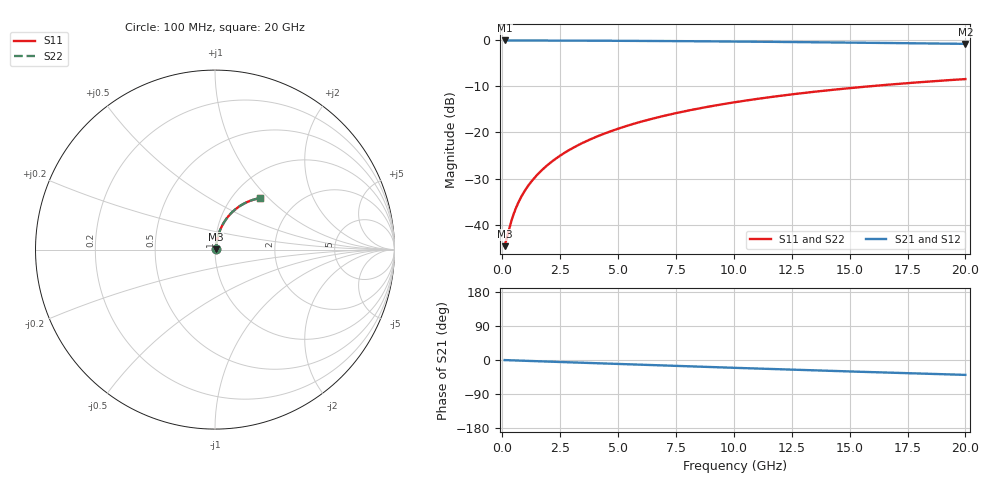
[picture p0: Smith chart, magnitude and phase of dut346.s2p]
! Touchstone file exported from HFSS 2026.1.0
!  File:  C:/ffzhzh/LocalFiles/Ansys_Project_Files/temp_train_TMRDL_346_1783003911_53980.aedt
!  Generated:  10:53:07 PM Jul  2, 2026
!  Design:  TMRDL
!  Project:  temp_train_TMRDL_346_1783003911_53980
! Variables:
!  h_bsmrdl = 2um
!  h_ox = 20um
!  h_rdl = 5um
!  h_sub = 80um
!  h_tmrdl = 2.05um
!  h_tsv = 80um
!  h_via = 3um
!  l_bsmrdl = 300um
!  l_sub = 952.92um
!  l_tmrdl = 552.92um
!  m_sub = 200um
!  pitch = 42.58um
!  r_tsv = 6um
!  s_tmrdl = 10um
!  w_bsmrdl = 18um
!  w_sub = 500um
!  w_tmrdl = 18.91um
!  x_tsv_center1 = 562.375um
!  x_tsv_center2 = 880.375um
!  x_tsv_center3 = 1452.205um
!  x_tsv_center4 = 1770.205um
!  x_tsv_center5 = 2342.035um
!  x_tsv_center6 = 2660.035um
# GHz S MA R 50.000000
! Terminal data exported
! Port[1] = TM_RDL1_1_T1
! Port[2] = TM_RDL1_1_T2
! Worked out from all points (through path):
!   200 points, 100 MHz to 20 GHz, reference 50 ohm
!   highest |S21| = -0.05 dB at 100 MHz (marker M1); lowest = -0.8 dB at 20 GHz (marker M2)
!   group delay of S21, straight-line fit = 5.47 ps
!   lowest |S11| = -44.7 dB at 100 MHz (marker M3), VSWR 1.01, Z = 50.5 + j0.245 ohm
!   |S11| at or under -10 dB: start of sweep to 15.83 GHz
!   |S22| runs from -44.7 to -8.4 dB; largest |S21 - S12| = 2.7e-15
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0.1  0.00585 24.5  0.9947 -0.2  0.9947 -0.2  0.00585 24.5
! Gamma 0 0 0 0
! Port Impedance 50 0 50 0
0.3  0.009127 52.1  0.9945 -0.7  0.9945 -0.7  0.009127 52.1
0.4  0.01116 58.6  0.9943 -0.9  0.9943 -0.9  0.01116 58.6
0.5  0.01326 62.9  0.9941 -1.1  0.9941 -1.1  0.01326 62.9
0.6  0.01539 65.8  0.9939 -1.3  0.9939 -1.3  0.01539 65.8
0.7  0.01752 68.0  0.9937 -1.5  0.9937 -1.5  0.01752 68.0
0.9  0.02178 71.1  0.9934 -1.9  0.9934 -1.9  0.02178 71.1
1.2  0.02817 73.9  0.993 -2.6  0.993 -2.6  0.02817 73.9
1.4  0.03245 75.0  0.9928 -3.0  0.9928 -3.0  0.03245 75.0
1.7  0.03887 76.2  0.9924 -3.6  0.9924 -3.6  0.03887 76.2
2.2  0.04964 77.2  0.9918 -4.6  0.9918 -4.6  0.04964 77.2
2.8  0.06259 77.5  0.9909 -5.9  0.9909 -5.9  0.06259 77.5
3.5  0.0777 77.3  0.9897 -7.3  0.9897 -7.3  0.0777 77.3
4.2  0.09275 76.6  0.9883 -8.8  0.9883 -8.8  0.09275 76.6
5  0.1098 75.6  0.9864 -10.4  0.9864 -10.4  0.1098 75.6
5.9  0.1289 74.2  0.9839 -12.3  0.9839 -12.3  0.1289 74.2
6.8  0.1477 72.7  0.981 -14.1  0.981 -14.1  0.1477 72.8
8.3  0.1783 70.1  0.9756 -17.2  0.9756 -17.2  0.1783 70.1
10.1  0.2139 66.8  0.968 -20.8  0.968 -20.8  0.2138 66.9
13.4  0.2749 60.7  0.9516 -27.2  0.9516 -27.2  0.2749 60.8
16.7  0.3301 54.8  0.9332 -33.4  0.9332 -33.4  0.3301 54.8
20  0.3792 49.0  0.9138 -39.3  0.9138 -39.3  0.3792 49.0
